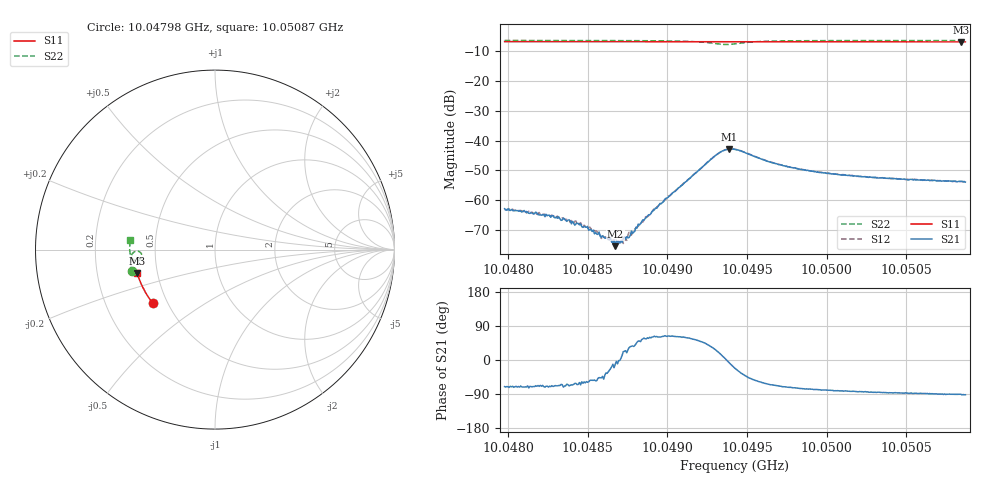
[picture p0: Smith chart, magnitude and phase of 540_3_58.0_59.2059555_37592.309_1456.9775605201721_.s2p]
#  HZ  S  RI  R  50.00
! Rohde & Schwarz Vector Network Analyzer
! Rohde-Schwarz,ZNB20-2Port,1311601062101988,3.16
! Created: UTC 3/21/2024, 1:14:28 AM
! freq[Hz]  re:S11  im:S11  re:S21  im:S21  re:S12  im:S12  re:S22  im:S22
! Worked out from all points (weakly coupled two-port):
!   401 points, 10.04798 GHz to 10.05087 GHz, reference 50 ohm
!   highest |S21| = -42.80 dB at 10.04939 GHz (marker M1); lowest = -75.4 dB at 10.04867 GHz (marker M2)
!   lowest |S11| = -6.9 dB at 10.05084 GHz (marker M3), VSWR 2.65, Z = 19.2 - j6.39 ohm
!   |S11| at or under -10 dB: nowhere
!   |S22| runs from -7.8 to -6.4 dB; largest |S21 - S12| = 0.00053
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1.0047977e10  -0.3465 -0.2981  0.000243 -0.000675  0.000283 -0.000636  -0.4625 -0.1201
1.0048064e10  -0.3501 -0.2935  0.000226 -0.000613  0.000281 -0.000614  -0.4638 -0.1142
1.0048267e10  -0.3584 -0.2829  0.000173 -0.000486  0.000229 -0.000497  -0.4667 -0.1001
1.0048411e10  -0.3639 -0.2752  0.000179 -0.000366  0.000184 -0.000379  -0.4681 -0.0896
1.0048462e10  -0.3657 -0.2726  0.000191 -0.000302  0.000199 -0.000322  -0.4686 -0.0859
1.0048542e10  -0.3689 -0.2682  0.000164 -0.000217  0.000201 -0.00023  -0.4694 -0.0798
1.0048592e10  -0.3705 -0.2653  0.000184 -0.000172  0.000206 -0.000157  -0.4697 -0.0759
1.0048672e10  -0.3736 -0.2611  0.000166 -3.41e-05  0.000217 -5e-05  -0.4702 -0.0697
1.0048701e10  -0.3746 -0.2595  0.00019 -4.28e-06  0.000195 4.08e-05  -0.4702 -0.0672
1.004873e10  -0.3757 -0.2579  0.000224 9.45e-05  0.000186 6.09e-05  -0.4703 -0.0647
1.0048766e10  -0.3771 -0.256  0.000208 0.000144  0.000222 0.000145  -0.4704 -0.0616
1.0048831e10  -0.3793 -0.2522  0.000267 0.0003  0.000244 0.000326  -0.4702 -0.0557
1.0048947e10  -0.3832 -0.2457  0.000408 0.000725  0.000356 0.00074  -0.4691 -0.0445
1.0049287e10  -0.394 -0.226  0.00444 0.00274  0.00427 0.003  -0.4287 -0.0089
1.0049345e10  -0.3955 -0.2228  0.00654 0.00132  0.00647 0.00169  -0.4108 -0.0222
1.0049389e10  -0.3967 -0.2205  0.00719 -0.000937  0.00724 -0.000459  -0.4078 -0.0413
1.0049425e10  -0.3978 -0.2186  0.0066 -0.00267  0.00681 -0.00219  -0.4155 -0.0549
1.0049664e10  -0.4052 -0.2049  0.00173 -0.00388  0.00195 -0.00376  -0.4649 -0.0441
1.004991e10  -0.4121 -0.1901  0.000692 -0.00298  0.000825 -0.00295  -0.4737 -0.0183
1.0050395e10  -0.4237 -0.1605  0.000154 -0.00232  0.000294 -0.00231  -0.4754 0.0206
1.0050843e10  -0.4323 -0.1323  -1.16e-05 -0.00207  7.32e-05 -0.00205  -0.4731 0.0524
1.0050872e10  -0.433 -0.1306  -5.66e-05 -0.00201  7.16e-05 -0.00205  -0.4728 0.0543
